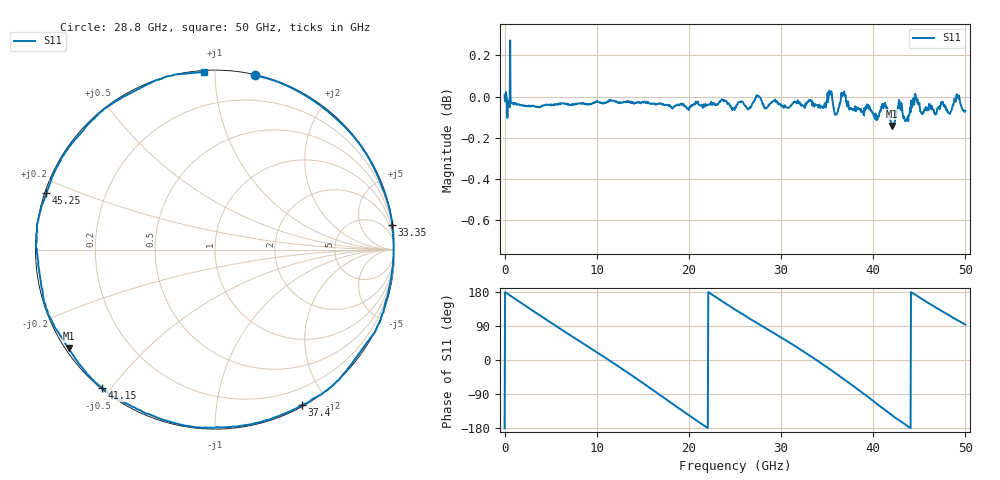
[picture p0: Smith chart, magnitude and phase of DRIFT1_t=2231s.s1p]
!Created with skrf (http://scikit-rf.org).
# Hz S RI R 50.0
!freq ReS11 ImS11
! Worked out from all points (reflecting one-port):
!   1001 points, 300 kHz to 50 GHz, reference 50 ohm
!   lowest |S11| = -0.1 dB at 42.05 GHz (marker M1), VSWR 121.06, Z = 0.451 - j15.2 ohm
!   phase of S11 starts at -180 deg and turns -807 deg over the sweep
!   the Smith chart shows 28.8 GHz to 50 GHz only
!   S11 on the Smith chart (normalised r, x): 28.8 GHz: 0.01, +1.26; 33.35 GHz: 0, +14; 37.4 GHz: 0.01, -1.71; 41.15 GHz: 0.00, -0.47; 45.25 GHz: 0.00, +0.16; 50 GHz: 0.01, +0.94
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300000  -1.001 -0.00149
1.65029e9  -0.8867 0.4518
3.450279e9  -0.5509 0.8279
6.250262e9  0.1887 0.978
9.650242e9  0.8948 0.4382
1.250022e10  0.9397 -0.3312
1.400022e10  0.7172 -0.6912
1.58502e10  0.2597 -0.9614
1.73002e10  -0.169 -0.9809
1.875019e10  -0.568 -0.8175
2.035018e10  -0.877 -0.4705
2.185017e10  -0.9934 -0.0619
2.345016e10  -0.9226 0.3794
2.500015e10  -0.6769 0.7274
2.705014e10  -0.215 0.9739
2.880013e10  0.2245 0.9704
3.125011e10  0.7529 0.6521
3.33501e10  0.9874 0.1395
3.530009e10  0.911 -0.4158
3.740008e10  0.4852 -0.866
3.750008e10  0.4578 -0.8821
3.935006e10  -0.0976 -0.9908
4.115005e10  -0.6319 -0.7697
4.205005e10  -0.8162 -0.5489
4.375004e10  -0.9855 -0.0823
4.525003e10  -0.9393 0.3152
4.760001e10  -0.5987 0.7963
5e10  -0.0586 0.9903
